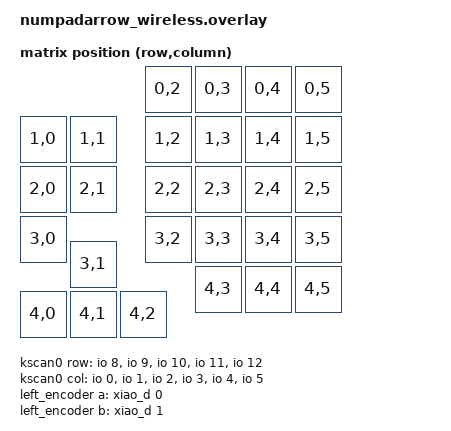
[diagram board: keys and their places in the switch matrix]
/*
 * Copyright (c) 2020 Pete Johanson, Richard Jones
 *
 * SPDX-License-Identifier: MIT
 */

#include <dt-bindings/zmk/matrix_transform.h>
#include <dt-bindings/led/led.h>
#include <physical_layouts.dtsi>

/ {
    chosen {
        zmk,physical-layout = &physical_layout0;
        zmk,underglow = &led_strip;
        zephyr,display = &oled;
    };

    physical_layout0: physical_layout_0 {
        compatible = "zmk,physical-layout";
        display-name = "default_transform";

        kscan = <&kscan>;
        transform = <&matrix_transform0>;

        keys  //                     w   h    x    y     rot    rx    ry
            = <&key_physical_attrs 100 100  250    0       0     0     0>
            , <&key_physical_attrs 100 100  350    0       0     0     0>
            , <&key_physical_attrs 100 100  450    0       0     0     0>
            , <&key_physical_attrs 100 100  550    0       0     0     0>
            , <&key_physical_attrs 100 100    0  100       0     0     0>
            , <&key_physical_attrs 100 100  100  100       0     0     0>
            , <&key_physical_attrs 100 100  250  100       0     0     0>
            , <&key_physical_attrs 100 100  350  100       0     0     0>
            , <&key_physical_attrs 100 100  450  100       0     0     0>
            , <&key_physical_attrs 100 100  550  100       0     0     0>
            , <&key_physical_attrs 100 100    0  200       0     0     0>
            , <&key_physical_attrs 100 100  100  200       0     0     0>
            , <&key_physical_attrs 100 100  250  200       0     0     0>
            , <&key_physical_attrs 100 100  350  200       0     0     0>
            , <&key_physical_attrs 100 100  450  200       0     0     0>
            , <&key_physical_attrs 100 100  550  200       0     0     0>
            , <&key_physical_attrs 100 100    0  300       0     0     0>
            , <&key_physical_attrs 100 100  100  350       0     0     0>
            , <&key_physical_attrs 100 100  250  300       0     0     0>
            , <&key_physical_attrs 100 100  350  300       0     0     0>
            , <&key_physical_attrs 100 100  450  300       0     0     0>
            , <&key_physical_attrs 100 100  550  300       0     0     0>
            , <&key_physical_attrs 100 100    0  450       0     0     0>
            , <&key_physical_attrs 100 100  100  450       0     0     0>
            , <&key_physical_attrs 100 100  200  450       0     0     0>
            , <&key_physical_attrs 100 100  350  400       0     0     0>
            , <&key_physical_attrs 100 100  450  400       0     0     0>
            , <&key_physical_attrs 100 100  550  400       0     0     0>
            ;
    };

    matrix_transform0: matrix_transform0 {
        compatible = "zmk,matrix-transform";
        rows = <5>;
        columns = <6>;

        map = <
                         RC(0,2) RC(0,3) RC(0,4) RC(0,5) 
        RC(1,0) RC(1,1)  RC(1,2) RC(1,3) RC(1,4) RC(1,5) 
        RC(2,0) RC(2,1)  RC(2,2) RC(2,3) RC(2,4) RC(2,5) 
        RC(3,0) RC(3,1)  RC(3,2) RC(3,3) RC(3,4) RC(3,5)
        RC(4,0) RC(4,1) RC(4,2)  RC(4,3) RC(4,4) RC(4,5) 
        >;
    };

    kscan: kscan {
        compatible = "zmk,kscan-composite";
        label = "KSCAN";
        rows = <9>;
        columns = <6>;

        key {
            kscan = <&kscan0>;
        };

    };

    kscan0: kscan0 {
        compatible = "zmk,kscan-gpio-matrix";
        label = "KSCAN_KEY";


        diode-direction = "row2col";
        col-gpios
            = <&io 0  (GPIO_ACTIVE_LOW | GPIO_PULL_UP)>
            , <&io 1  (GPIO_ACTIVE_LOW | GPIO_PULL_UP)>
            , <&io 2  (GPIO_ACTIVE_LOW | GPIO_PULL_UP)>
            , <&io 3  (GPIO_ACTIVE_LOW | GPIO_PULL_UP)>
            , <&io 4  (GPIO_ACTIVE_LOW | GPIO_PULL_UP)>
            , <&io 5  (GPIO_ACTIVE_LOW | GPIO_PULL_UP)>
            ;
        row-gpios
            = <&io 8  (GPIO_ACTIVE_LOW)>
            , <&io 9  (GPIO_ACTIVE_LOW)>
            , <&io 10 (GPIO_ACTIVE_LOW)>
            , <&io 11 (GPIO_ACTIVE_LOW)>
            , <&io 12 (GPIO_ACTIVE_LOW)>
            ;

    };

    EXT_POWER {
        compatible = "zmk,ext-power-generic";
        control-gpios = <&xiao_d 2 GPIO_ACTIVE_LOW>;
        init-delay-ms = <50>;
    };

    left_encoder: encoder_left {
        compatible = "alps,ec11";
        a-gpios = <&xiao_d 0 (GPIO_ACTIVE_HIGH | GPIO_PULL_UP)>;
        b-gpios = <&xiao_d 1 (GPIO_ACTIVE_HIGH | GPIO_PULL_UP)>;
        steps = <12>;
        status = "okay";
    };

    sensors: sensors {
        compatible = "zmk,keymap-sensors";
        sensors = <&left_encoder>;
        triggers-per-rotation = <10>;
    };

};


&pinctrl {
    spi3_default: spi3_default {
        group1 {
            psels = <NRF_PSEL(SPIM_MOSI, 1, 11)>;
        };
    };

    spi3_sleep: spi3_sleep {
        group1 {
            psels = <NRF_PSEL(SPIM_MOSI, 1, 11)>;
            low-power-enable;
        };
    };

    i2c0_default: i2c0_default {
        group1 {
            psels = <NRF_PSEL(TWIM_SDA, 0, 4)>,
                <NRF_PSEL(TWIM_SCL, 0, 5)>;
        };
    };

    i2c0_sleep: i2c0_sleep {
        group1 {
            psels = <NRF_PSEL(TWIM_SDA, 0, 4)>,
                <NRF_PSEL(TWIM_SCL, 0, 5)>;
            low-power-enable;
        };
    };

};

&i2c0 {
    compatible = "nordic,nrf-twi";
    pinctrl-0 = <&i2c0_default>;
    pinctrl-1 = <&i2c0_sleep>;
    pinctrl-names = "default", "sleep";
    status = "okay";

    io: mcp23017@20 {
        compatible = "microchip,mcp230xx";
        status = "okay";
        gpio-controller;
        reg = <0x20>;
        #gpio-cells = <2>;
        ngpios = <16>;
    };

    oled: ssd1306@3c {
        compatible = "solomon,ssd1306fb";
        reg = <0x3c>;
        width = <128>;
        height = <32>;
        segment-offset = <0>;
        page-offset = <0>;
        display-offset = <0>;
        multiplex-ratio = <31>;
        //segment-remap;
        //com-invdir;
        com-sequential;
        inversion-on;
        prechargep = <0x22>;
    };

};


&spi3 {
  compatible = "nordic,nrf-spim";
  status = "okay";

  pinctrl-0 = <&spi3_default>;
  pinctrl-1 = <&spi3_sleep>;
  pinctrl-names = "default", "sleep";

  led_strip: ws2812@0 {
    compatible = "worldsemi,ws2812-spi";
    label = "WS2812";

    /* SPI */
    reg = <0>; /* ignored, but necessary for SPI bindings */
    spi-max-frequency = <4000000>;

    /* WS2812 */
    chain-length = <27>; /* number of LEDs */
    spi-one-frame = <0x70>;
    spi-zero-frame = <0x40>;
    color-mapping = <LED_COLOR_ID_GREEN
                          LED_COLOR_ID_RED
                          LED_COLOR_ID_BLUE>;
  };
};

&xiao_serial { status = "disabled"; };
